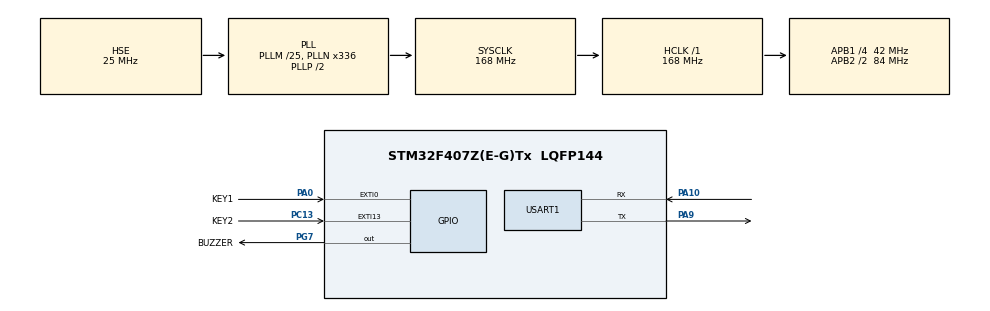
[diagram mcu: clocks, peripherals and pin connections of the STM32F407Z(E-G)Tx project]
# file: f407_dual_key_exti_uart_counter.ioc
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Mcu.Family=STM32F4
Mcu.Name=STM32F407Z(E-G)Tx
Mcu.Package=LQFP144
NVIC.EXTI0_IRQn=true\:5\:0\:true\:false\:true\:true\:true\:true
NVIC.EXTI15_10_IRQn=true\:5\:0\:true\:false\:true\:true\:true\:true
NVIC.PriorityGroup=NVIC_PRIORITYGROUP_4
PA0-WKUP.GPIO_Label=KEY1
PA0-WKUP.Signal=GPXTI0
PA10.Mode=Asynchronous
PA10.Signal=USART1_RX
PA13.Mode=Serial_Wire
PA13.Signal=SYS_JTMS-SWDIO
PA14.Mode=Serial_Wire
PA14.Signal=SYS_JTCK-SWCLK
PA9.Mode=Asynchronous
PA9.Signal=USART1_TX
PC13-ANTI_TAMP.GPIO_Label=KEY2
PC13-ANTI_TAMP.Signal=GPXTI13
PG7.GPIO_Label=BUZZER
PG7.Signal=GPIO_Output
PH0-OSC_IN.Mode=HSE-External-Oscillator
PH0-OSC_IN.Signal=RCC_OSC_IN
PH1-OSC_OUT.Mode=HSE-External-Oscillator
PH1-OSC_OUT.Signal=RCC_OSC_OUT
ProjectManager.HeapSize=0x200
ProjectManager.StackSize=0x400
ProjectManager.TargetToolchain=CMake
RCC.48MHZClocksFreq_Value=84000000
RCC.AHBFreq_Value=168000000
RCC.APB1CLKDivider=RCC_HCLK_DIV4
RCC.APB1Freq_Value=42000000
RCC.APB1TimFreq_Value=84000000
RCC.APB2CLKDivider=RCC_HCLK_DIV2
RCC.APB2Freq_Value=84000000
RCC.APB2TimFreq_Value=168000000
RCC.CortexFreq_Value=168000000
RCC.HCLKFreq_Value=168000000
RCC.HSE_VALUE=25000000
RCC.HSI_VALUE=16000000
RCC.LSE_VALUE=32768
RCC.PLLM=25
RCC.PLLN=336
RCC.PLLSourceVirtual=RCC_PLLSOURCE_HSE
RCC.SYSCLKFreq_VALUE=168000000
RCC.SYSCLKSource=RCC_SYSCLKSOURCE_PLLCLK
RCC.VCOOutputFreq_Value=336000000
USART1.VirtualMode=VM_ASYNC
board=custom

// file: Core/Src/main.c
/* USER CODE BEGIN Header */
/**
  ******************************************************************************
  * @file           : main.c
  * @brief          : Main program body
  ******************************************************************************
  * @attention
  *
  * Copyright (c) 2026 STMicroelectronics.
  * All rights reserved.
  *
  * This software is licensed under terms that can be found in the LICENSE file
  * in the root directory of this software component.
  * If no LICENSE file comes with this software, it is provided AS-IS.
  *
  ******************************************************************************
  */
/* USER CODE END Header */
#include "main.h"

/* USER CODE BEGIN Includes */
#include <stdio.h>
#include <string.h>
/* USER CODE END Includes */

/* USER CODE BEGIN PD */
#define KEY_DEBOUNCE_MS  50U
#define UART_TIMEOUT_MS  100U
/* 蜂鸣器每次鸣叫150ms */
#define BUZZER_DURATION_MS  150U
/* USER CODE END PD */

UART_HandleTypeDef huart1;

/* USER CODE BEGIN PV */
/* 中断函数设置、主循环读取，所以使用volatile */
static volatile uint8_t key1_press_event = 0U;
static volatile uint8_t key2_press_event = 0U;

/* 两个按键各自的消抖时间 */
static volatile uint32_t key1_last_irq_ms = 0U;
static volatile uint32_t key2_last_irq_ms = 0U;

/* 当前计数值 */
static uint32_t key_count = 0U;
/* 蜂鸣器当前是否正在鸣叫 */
static uint8_t buzzer_on = 0U;

/* 本次鸣叫开始时间 */
static uint32_t buzzer_start_ms = 0U;
/* USER CODE END PV */

void SystemClock_Config(void);
static void MX_GPIO_Init(void);
static void MX_USART1_UART_Init(void);
/* USER CODE BEGIN PFP */
static void Counter_Log(const char *event_name);
static void Buzzer_Set(uint8_t on);
static void Buzzer_Start(uint32_t now);
static void Buzzer_Update(uint32_t now);
/* USER CODE END PFP */

int main(void)
{

  /* MCU Configuration--------------------------------------------------------*/

  /* Reset of all peripherals, Initializes the Flash interface and the Systick. */
  HAL_Init();

  /* Configure the system clock */
  SystemClock_Config();

  /* Initialize all configured peripherals */
  MX_GPIO_Init();
  MX_USART1_UART_Init();
  /* USER CODE BEGIN 2 */
  /* 启动时确保蜂鸣器关闭 */
Buzzer_Set(0U);

/* 上电后向电脑发送启动信息 */
Counter_Log("System started");
  /* USER CODE END 2 */

  /* Infinite loop */
  /* USER CODE BEGIN WHILE */
  /* USER CODE BEGIN WHILE */
while (1)
{
    /* USER CODE END WHILE */

    /* USER CODE BEGIN 3 */

  /*
   * KEY1中断只负责产生事件。
   * 计数和串口发送都在主循环中完成。
   */
  if (key1_press_event != 0U)
  {
    key1_press_event = 0U;

    key_count++;

    Counter_Log("KEY1 pressed");
    Buzzer_Start(HAL_GetTick());
  }

  /*
   * KEY2按下后清零。
   * 如果两个事件同时发生，KEY2最后处理，因此清零优先。
   */
  if (key2_press_event != 0U)
  {
    key2_press_event = 0U;

    key_count = 0U;

    Counter_Log("KEY2 pressed, counter cleared");
    Buzzer_Start(HAL_GetTick());
  }
  /* 非阻塞检查蜂鸣器是否已经响满150ms */
Buzzer_Update(HAL_GetTick());
}
  /* USER CODE END 3 */
}

void SystemClock_Config(void)
{
  RCC_OscInitTypeDef RCC_OscInitStruct = {0};
  RCC_ClkInitTypeDef RCC_ClkInitStruct = {0};

  /** Configure the main internal regulator output voltage
  */
  __HAL_RCC_PWR_CLK_ENABLE();
  __HAL_PWR_VOLTAGESCALING_CONFIG(PWR_REGULATOR_VOLTAGE_SCALE1);

  /** Initializes the RCC Oscillators according to the specified parameters
  * in the RCC_OscInitTypeDef structure.
  */
  RCC_OscInitStruct.OscillatorType = RCC_OSCILLATORTYPE_HSE;
  RCC_OscInitStruct.HSEState = RCC_HSE_ON;
  RCC_OscInitStruct.PLL.PLLState = RCC_PLL_ON;
  RCC_OscInitStruct.PLL.PLLSource = RCC_PLLSOURCE_HSE;
  RCC_OscInitStruct.PLL.PLLM = 25;
  RCC_OscInitStruct.PLL.PLLN = 336;
  RCC_OscInitStruct.PLL.PLLP = RCC_PLLP_DIV2;
  RCC_OscInitStruct.PLL.PLLQ = 4;
  if (HAL_RCC_OscConfig(&RCC_OscInitStruct) != HAL_OK)
  {
    Error_Handler();
  }

  /** Initializes the CPU, AHB and APB buses clocks
  */
  RCC_ClkInitStruct.ClockType = RCC_CLOCKTYPE_HCLK|RCC_CLOCKTYPE_SYSCLK
                              |RCC_CLOCKTYPE_PCLK1|RCC_CLOCKTYPE_PCLK2;
  RCC_ClkInitStruct.SYSCLKSource = RCC_SYSCLKSOURCE_PLLCLK;
  RCC_ClkInitStruct.AHBCLKDivider = RCC_SYSCLK_DIV1;
  RCC_ClkInitStruct.APB1CLKDivider = RCC_HCLK_DIV4;
  RCC_ClkInitStruct.APB2CLKDivider = RCC_HCLK_DIV2;

  if (HAL_RCC_ClockConfig(&RCC_ClkInitStruct, FLASH_LATENCY_5) != HAL_OK)
  {
    Error_Handler();
  }
}

static void MX_USART1_UART_Init(void)
{

  huart1.Instance = USART1;
  huart1.Init.BaudRate = 115200;
  huart1.Init.WordLength = UART_WORDLENGTH_8B;
  huart1.Init.StopBits = UART_STOPBITS_1;
  huart1.Init.Parity = UART_PARITY_NONE;
  huart1.Init.Mode = UART_MODE_TX_RX;
  huart1.Init.HwFlowCtl = UART_HWCONTROL_NONE;
  huart1.Init.OverSampling = UART_OVERSAMPLING_16;
  if (HAL_UART_Init(&huart1) != HAL_OK)
  {
    Error_Handler();
  }

}

static void MX_GPIO_Init(void)
{
  GPIO_InitTypeDef GPIO_InitStruct = {0};

  /* GPIO Ports Clock Enable */
  __HAL_RCC_GPIOC_CLK_ENABLE();
  __HAL_RCC_GPIOH_CLK_ENABLE();
  __HAL_RCC_GPIOA_CLK_ENABLE();
  __HAL_RCC_GPIOG_CLK_ENABLE();

  /*Configure GPIO pin Output Level */
  HAL_GPIO_WritePin(BUZZER_GPIO_Port, BUZZER_Pin, GPIO_PIN_RESET);

  /*Configure GPIO pin : KEY2_Pin */
  GPIO_InitStruct.Pin = KEY2_Pin;
  GPIO_InitStruct.Mode = GPIO_MODE_IT_RISING;
  GPIO_InitStruct.Pull = GPIO_NOPULL;
  HAL_GPIO_Init(KEY2_GPIO_Port, &GPIO_InitStruct);

  /*Configure GPIO pin : KEY1_Pin */
  GPIO_InitStruct.Pin = KEY1_Pin;
  GPIO_InitStruct.Mode = GPIO_MODE_IT_RISING;
  GPIO_InitStruct.Pull = GPIO_NOPULL;
  HAL_GPIO_Init(KEY1_GPIO_Port, &GPIO_InitStruct);

  /*Configure GPIO pin : BUZZER_Pin */
  GPIO_InitStruct.Pin = BUZZER_Pin;
  GPIO_InitStruct.Mode = GPIO_MODE_OUTPUT_PP;
  GPIO_InitStruct.Pull = GPIO_NOPULL;
  GPIO_InitStruct.Speed = GPIO_SPEED_FREQ_LOW;
  HAL_GPIO_Init(BUZZER_GPIO_Port, &GPIO_InitStruct);

  /* EXTI interrupt init*/
  HAL_NVIC_SetPriority(EXTI0_IRQn, 5, 0);
  HAL_NVIC_EnableIRQ(EXTI0_IRQn);

  HAL_NVIC_SetPriority(EXTI15_10_IRQn, 5, 0);
  HAL_NVIC_EnableIRQ(EXTI15_10_IRQn);

}

/* USER CODE BEGIN 4 */
/**
 * @brief GPIO外部中断回调函数
 * @param GPIO_Pin 产生中断的GPIO引脚
 */
void HAL_GPIO_EXTI_Callback(uint16_t GPIO_Pin)
{
  uint32_t now = HAL_GetTick();

  /* KEY1：PA0，对应EXTI0 */
  if (GPIO_Pin == KEY1_Pin)
  {
    if ((uint32_t)(now - key1_last_irq_ms) >= KEY_DEBOUNCE_MS)
    {
      key1_last_irq_ms = now;
      key1_press_event = 1U;
    }
  }
  /* KEY2：PC13，对应EXTI13 */
  else if (GPIO_Pin == KEY2_Pin)
  {
    if ((uint32_t)(now - key2_last_irq_ms) >= KEY_DEBOUNCE_MS)
    {
      key2_last_irq_ms = now;
      key2_press_event = 1U;
    }
  }
}

/**
 * @brief 把事件名称和当前计数值发送到电脑
 */
static void Counter_Log(const char *event_name)
{
  char message[100];
  int length;

  /*
   * snprintf把字符串和计数值组合到message数组中。
   * %lu用于输出unsigned long。
   */
  length = snprintf(
      message,
      sizeof(message),
      "%s, Count = %lu\r\n",
      event_name,
      (unsigned long)key_count);

  if (length > 0)
  {
    /*
     * snprintf返回值可能大于缓冲区长度，
     * 因此对实际发送长度做限制。
     */
    uint16_t transmit_length =
        (length < (int)sizeof(message))
            ? (uint16_t)length
            : (uint16_t)(sizeof(message) - 1U);

    HAL_UART_Transmit(
        &huart1,
        (uint8_t *)message,
        transmit_length,
        UART_TIMEOUT_MS);
  }
}
/**
 * @brief 控制板载蜂鸣器
 * @param on 1：响；0：关闭
 */
static void Buzzer_Set(uint8_t on)
{
  /*
   * 霸天虎板载蜂鸣器PG7高电平有效：
   * 高电平响，低电平关闭。
   */
  HAL_GPIO_WritePin(
      BUZZER_GPIO_Port,
      BUZZER_Pin,
      (on != 0U) ? GPIO_PIN_SET : GPIO_PIN_RESET);
}

/**
 * @brief 开始一次蜂鸣
 * @param now 当前HAL毫秒计数
 */
static void Buzzer_Start(uint32_t now)
{
  buzzer_on = 1U;
  buzzer_start_ms = now;

  Buzzer_Set(1U);
}

/**
 * @brief 非阻塞更新蜂鸣器状态
 * @param now 当前HAL毫秒计数
 */
static void Buzzer_Update(uint32_t now)
{
  if ((buzzer_on != 0U) &&
      ((uint32_t)(now - buzzer_start_ms) >= BUZZER_DURATION_MS))
  {
    buzzer_on = 0U;

    Buzzer_Set(0U);
  }
}
/* USER CODE END 4 */

void Error_Handler(void)
{
  __disable_irq();
  while (1)
  {
  }
}
